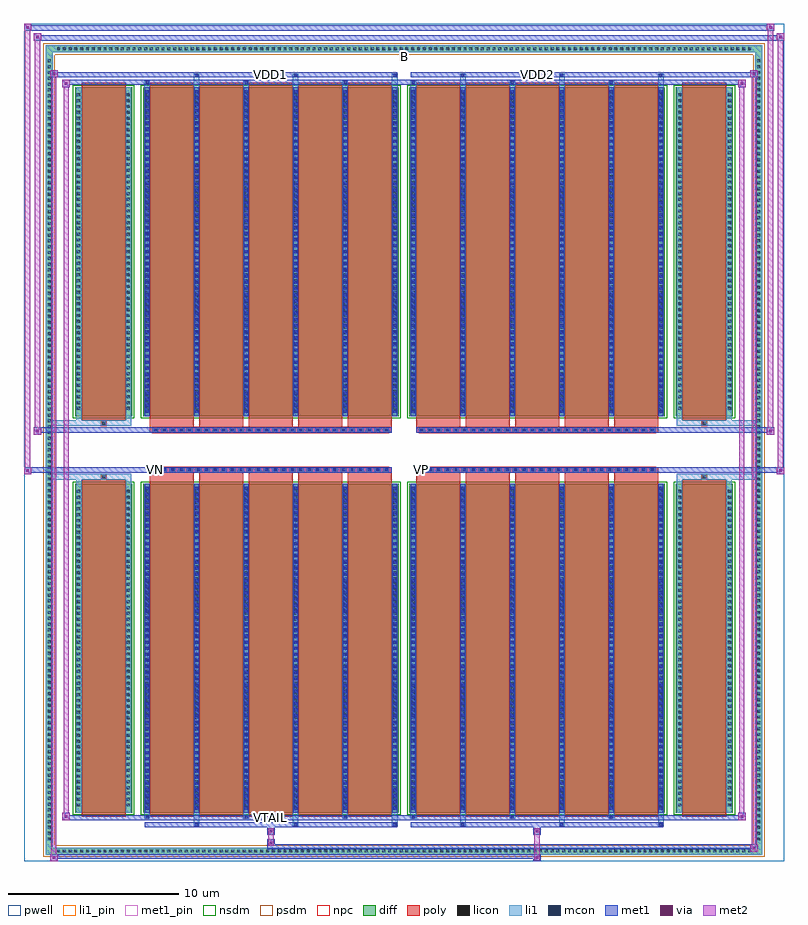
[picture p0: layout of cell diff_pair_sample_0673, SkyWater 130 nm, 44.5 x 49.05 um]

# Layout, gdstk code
import gdstk
lib = gdstk.Library(unit=1e-6, precision=5e-09)
def R(c, l, rs):  # rectangles x0, y0, x1, y1
    for r in rs: c.add(gdstk.rectangle(r[:2], r[2:], *l))
def A(c, l, x, y, w, h, nx, ny, dx, dy):  # array of equal rectangles
    R(c, l, [(x+i*dx, y+j*dy, x+i*dx+w, y+j*dy+h) for i in range(nx) for j in range(ny)])
def P(c, l, *ps):  # polygons
    for p in ps: c.add(gdstk.Polygon(p, *l))
pwell = (64, 44)
diff = (65, 20)
poly = (66, 20)
licon = (66, 44)
li1_pin = (67, 16)
li1 = (67, 20)
mcon = (67, 44)
met1_pin = (68, 16)
met1 = (68, 20)
via = (68, 44)
met2 = (69, 20)
nsdm = (93, 44)
psdm = (94, 20)
npc = (95, 20)

diff_pair_sample_0673 = lib.new_cell('diff_pair_sample_0673')
R(diff_pair_sample_0673, pwell, [(-22.25,-24.09,22.25,24.96), (-19.57,-22.28,-0.01,-0.8), (0.01,-22.28,19.57,-0.8), (-19.57,0.8,-0.01,22.28), (0.01,0.8,19.57,22.28)])
A(diff_pair_sample_0673, diff, -20.435, -23.69, 0.41, 0.41, 120, 2, 0.34, 46.97)
A(diff_pair_sample_0673, diff, -20.98, -22.985, 0.41, 0.41, 1, 135, 0, 0.34)
A(diff_pair_sample_0673, diff, 20.57, -22.985, 0.41, 0.41, 1, 135, 0, 0.34)
R(diff_pair_sample_0673, diff, [(-20.435,-23.69,20.435,-23.28), (-20.98,-22.985,-20.57,22.985), (20.57,-22.985,20.98,22.985), (-19.26,-21.235,-15.91,-1.985), (-15.27,-21.235,-0.32,-1.985), (0.32,-21.235,15.27,-1.985), (15.91,-21.235,19.26,-1.985), (-19.26,1.985,-15.91,21.235), (-15.27,1.985,-0.32,21.235), (0.32,1.985,15.27,21.235), (15.91,1.985,19.26,21.235), (-20.435,23.28,20.435,23.69)])
P(diff_pair_sample_0673, diff, [(20.98,23.69),(-20.98,23.69),(-20.98,-23.28),(-20.57,-23.28),(-20.57,23.28),(20.57,23.28),(20.57,-23.28),(-20.57,-23.28),(-20.98,-23.28),(-20.98,-23.69),(20.98,-23.69)])
A(diff_pair_sample_0673, poly, -14.88, -21.485, 2.57, 19.75, 5, 2, 2.9, 23.22)
A(diff_pair_sample_0673, poly, 0.71, -21.485, 2.57, 19.75, 5, 2, 2.9, 23.22)
A(diff_pair_sample_0673, poly, -14.88, -1.735, 2.57, 0.405, 5, 2, 2.9, 3.065)
A(diff_pair_sample_0673, poly, 0.71, -1.735, 2.57, 0.405, 5, 2, 2.9, 3.065)
A(diff_pair_sample_0673, poly, -14.71, -1.33, 0.33, 0.33, 28, 2, 0.5, 2.33)
A(diff_pair_sample_0673, poly, 0.88, -1.33, 0.33, 0.33, 28, 2, 0.5, 2.33)
R(diff_pair_sample_0673, poly, [(-18.87,-21.485,-16.3,-1.735), (16.3,-21.485,18.87,-1.735), (-17.75,-1.735,-17.42,-1.405), (-17.75,-1.735,-17.42,-1.405), (17.42,-1.735,17.75,-1.405), (17.42,-1.735,17.75,-1.405), (-14.88,-1.33,-0.71,-1), (0.71,-1.33,14.88,-1), (-14.88,1,-0.71,1.33), (0.71,1,14.88,1.33), (-17.75,1.405,-17.42,1.735), (-17.75,1.405,-17.42,1.735), (17.42,1.405,17.75,1.735), (17.42,1.405,17.75,1.735), (-18.87,1.735,-16.3,21.485), (16.3,1.735,18.87,21.485)])
A(diff_pair_sample_0673, licon, -20.315, -23.57, 0.17, 0.17, 120, 2, 0.34, 46.97)
A(diff_pair_sample_0673, licon, -20.86, -22.865, 0.17, 0.17, 1, 135, 0, 0.34)
A(diff_pair_sample_0673, licon, 20.69, -22.865, 0.17, 0.17, 1, 135, 0, 0.34)
A(diff_pair_sample_0673, licon, -19.12, -20.875, 0.17, 0.17, 1, 55, 0, 0.34)
A(diff_pair_sample_0673, licon, -16.22, -20.875, 0.17, 0.17, 1, 55, 0, 0.34)
A(diff_pair_sample_0673, licon, -15.13, -20.875, 0.17, 0.17, 6, 55, 2.9, 0.34)
A(diff_pair_sample_0673, licon, 0.46, -20.875, 0.17, 0.17, 6, 55, 2.9, 0.34)
A(diff_pair_sample_0673, licon, 16.05, -20.875, 0.17, 0.17, 1, 55, 0, 0.34)
A(diff_pair_sample_0673, licon, 18.95, -20.875, 0.17, 0.17, 1, 55, 0, 0.34)
A(diff_pair_sample_0673, licon, -14.63, -1.25, 0.17, 0.17, 28, 2, 0.5, 2.33)
A(diff_pair_sample_0673, licon, 0.96, -1.25, 0.17, 0.17, 28, 2, 0.5, 2.33)
A(diff_pair_sample_0673, licon, -19.12, 2.345, 0.17, 0.17, 1, 55, 0, 0.34)
A(diff_pair_sample_0673, licon, -16.22, 2.345, 0.17, 0.17, 1, 55, 0, 0.34)
A(diff_pair_sample_0673, licon, -15.13, 2.345, 0.17, 0.17, 6, 55, 2.9, 0.34)
A(diff_pair_sample_0673, licon, 0.46, 2.345, 0.17, 0.17, 6, 55, 2.9, 0.34)
A(diff_pair_sample_0673, licon, 16.05, 2.345, 0.17, 0.17, 1, 55, 0, 0.34)
A(diff_pair_sample_0673, licon, 18.95, 2.345, 0.17, 0.17, 1, 55, 0, 0.34)
R(diff_pair_sample_0673, licon, [(-17.67,-1.655,-17.5,-1.485), (17.5,-1.655,17.67,-1.485), (-17.67,1.485,-17.5,1.655), (17.5,1.485,17.67,1.655)])
R(diff_pair_sample_0673, li1_pin, [(-0.25,22.78,0.25,23.28)])
A(diff_pair_sample_0673, li1, -20.395, -23.65, 0.33, 0.33, 120, 2, 0.34, 46.97)
A(diff_pair_sample_0673, li1, -20.94, -22.945, 0.33, 0.33, 1, 135, 0, 0.34)
A(diff_pair_sample_0673, li1, 20.61, -22.945, 0.33, 0.33, 1, 135, 0, 0.34)
A(diff_pair_sample_0673, li1, -12.31, -22.04, 0.33, 0.805, 3, 2, 5.8, 43.275)
A(diff_pair_sample_0673, li1, -12.23, -22.04, 0.17, 0.17, 3, 2, 5.8, 43.91)
A(diff_pair_sample_0673, li1, 3.28, -22.04, 0.33, 0.805, 3, 2, 5.8, 43.275)
A(diff_pair_sample_0673, li1, 3.36, -22.04, 0.17, 0.17, 3, 2, 5.8, 43.91)
A(diff_pair_sample_0673, li1, -15.21, -21.61, 0.33, 0.375, 3, 2, 5.8, 42.845)
A(diff_pair_sample_0673, li1, -15.13, -21.61, 0.17, 0.17, 3, 2, 5.8, 43.05)
A(diff_pair_sample_0673, li1, 0.38, -21.61, 0.33, 0.375, 3, 2, 5.8, 42.845)
A(diff_pair_sample_0673, li1, 0.46, -21.61, 0.17, 0.17, 3, 2, 5.8, 43.05)
A(diff_pair_sample_0673, li1, -15.21, -21.235, 0.33, 19.25, 6, 2, 2.9, 23.22)
A(diff_pair_sample_0673, li1, 0.38, -21.235, 0.33, 19.25, 6, 2, 2.9, 23.22)
A(diff_pair_sample_0673, li1, -15.13, -21.055, 0.17, 0.17, 6, 53, 2.9, 0.36)
A(diff_pair_sample_0673, li1, -15.13, -21.055, 0.17, 18.89, 6, 2, 2.9, 23.22)
A(diff_pair_sample_0673, li1, 0.46, -21.055, 0.17, 0.17, 6, 53, 2.9, 0.36)
A(diff_pair_sample_0673, li1, 0.46, -21.055, 0.17, 18.89, 6, 2, 2.9, 23.22)
A(diff_pair_sample_0673, li1, -19.2, -20.955, 0.33, 0.33, 1, 55, 0, 0.34)
A(diff_pair_sample_0673, li1, -16.3, -20.955, 0.33, 0.33, 1, 55, 0, 0.34)
A(diff_pair_sample_0673, li1, -15.21, -20.955, 0.33, 0.33, 6, 55, 2.9, 0.34)
A(diff_pair_sample_0673, li1, 0.38, -20.955, 0.33, 0.33, 6, 55, 2.9, 0.34)
A(diff_pair_sample_0673, li1, 15.97, -20.955, 0.33, 0.33, 1, 55, 0, 0.34)
A(diff_pair_sample_0673, li1, 18.87, -20.955, 0.33, 0.33, 1, 55, 0, 0.34)
A(diff_pair_sample_0673, li1, -14.71, -1.33, 0.33, 0.33, 28, 2, 0.5, 2.33)
A(diff_pair_sample_0673, li1, 0.88, -1.33, 0.33, 0.33, 28, 2, 0.5, 2.33)
A(diff_pair_sample_0673, li1, -15.13, 2.165, 0.17, 0.17, 6, 53, 2.9, 0.36)
A(diff_pair_sample_0673, li1, 0.46, 2.165, 0.17, 0.17, 6, 53, 2.9, 0.36)
A(diff_pair_sample_0673, li1, -19.2, 2.265, 0.33, 0.33, 1, 55, 0, 0.34)
A(diff_pair_sample_0673, li1, -16.3, 2.265, 0.33, 0.33, 1, 55, 0, 0.34)
A(diff_pair_sample_0673, li1, -15.21, 2.265, 0.33, 0.33, 6, 55, 2.9, 0.34)
A(diff_pair_sample_0673, li1, 0.38, 2.265, 0.33, 0.33, 6, 55, 2.9, 0.34)
A(diff_pair_sample_0673, li1, 15.97, 2.265, 0.33, 0.33, 1, 55, 0, 0.34)
A(diff_pair_sample_0673, li1, 18.87, 2.265, 0.33, 0.33, 1, 55, 0, 0.34)
R(diff_pair_sample_0673, li1, [(-20.98,-23.69,-20.57,-23.28), (-20.98,-23.69,-20.57,-23.28), (-20.57,-23.69,20.57,-23.28), (20.57,-23.69,20.98,-23.28), (20.57,-23.69,20.98,-23.28), (-20.98,-23.28,-20.57,23.28), (20.57,-23.28,20.98,23.28), (-19.2,-21.235,-18.87,-1.985), (-16.3,-21.235,-15.97,-1.985), (15.97,-21.235,16.3,-1.985), (18.87,-21.235,19.2,-1.985), (-19.2,-1.985,-18.87,-1.405), (-16.3,-1.985,-15.97,-1.405), (15.97,-1.985,16.3,-1.405), (18.87,-1.985,19.2,-1.405), (-20.98,-1.735,-17.75,-1.405), (-19.2,-1.735,-17.75,-1.405), (-17.75,-1.735,-17.42,-1.405), (-17.42,-1.735,-15.97,-1.405), (15.97,-1.735,17.42,-1.405), (17.42,-1.735,17.75,-1.405), (17.42,-1.735,20.98,-1.405), (17.75,-1.735,19.2,-1.405), (-20.98,1.405,-17.75,1.735), (-19.2,1.405,-17.75,1.735), (-19.2,1.405,-18.87,1.985), (-17.75,1.405,-17.42,1.735), (-17.42,1.405,-15.97,1.735), (-16.3,1.405,-15.97,1.985), (15.97,1.405,17.42,1.735), (15.97,1.405,16.3,1.985), (17.42,1.405,17.75,1.735), (17.42,1.405,20.98,1.735), (17.75,1.405,19.2,1.735), (18.87,1.405,19.2,1.985), (-19.2,1.985,-18.87,21.235), (-16.3,1.985,-15.97,21.235), (15.97,1.985,16.3,21.235), (18.87,1.985,19.2,21.235), (-20.98,23.28,-20.57,23.69), (-20.98,23.28,-20.57,23.69), (-20.57,23.28,20.57,23.69), (20.57,23.28,20.98,23.69), (20.57,23.28,20.98,23.69)])
A(diff_pair_sample_0673, mcon, -12.23, -22.04, 0.17, 0.17, 3, 2, 5.8, 43.91)
A(diff_pair_sample_0673, mcon, 3.36, -22.04, 0.17, 0.17, 3, 2, 5.8, 43.91)
A(diff_pair_sample_0673, mcon, -15.13, -21.61, 0.17, 0.17, 3, 2, 5.8, 43.05)
A(diff_pair_sample_0673, mcon, 0.46, -21.61, 0.17, 0.17, 3, 2, 5.8, 43.05)
A(diff_pair_sample_0673, mcon, -15.13, -21.055, 0.17, 0.17, 6, 53, 2.9, 0.36)
A(diff_pair_sample_0673, mcon, 0.46, -21.055, 0.17, 0.17, 6, 53, 2.9, 0.36)
A(diff_pair_sample_0673, mcon, -14.63, -1.25, 0.17, 0.17, 28, 2, 0.5, 2.33)
A(diff_pair_sample_0673, mcon, 0.96, -1.25, 0.17, 0.17, 28, 2, 0.5, 2.33)
A(diff_pair_sample_0673, mcon, -15.13, 2.165, 0.17, 0.17, 6, 53, 2.9, 0.36)
A(diff_pair_sample_0673, mcon, 0.46, 2.165, 0.17, 0.17, 6, 53, 2.9, 0.36)
R(diff_pair_sample_0673, met1_pin, [(-7.93,-21.65,-7.66,-21.38), (-14.68,-1.29,-14.41,-1.02), (0.91,-1.29,1.18,-1.02), (-7.93,21.83,-7.66,22.1), (7.66,21.83,7.93,22.1)])
A(diff_pair_sample_0673, met1, -12.29, -22.1, 0.29, 0.29, 3, 2, 5.8, 43.91)
A(diff_pair_sample_0673, met1, 3.3, -22.1, 0.29, 0.29, 3, 2, 5.8, 43.91)
A(diff_pair_sample_0673, met1, -15.19, -21.67, 0.29, 0.29, 3, 2, 5.8, 43.05)
A(diff_pair_sample_0673, met1, 0.4, -21.67, 0.29, 0.29, 3, 2, 5.8, 43.05)
A(diff_pair_sample_0673, met1, -15.19, -21.235, 0.29, 19.25, 6, 2, 2.9, 23.22)
A(diff_pair_sample_0673, met1, 0.4, -21.235, 0.29, 19.25, 6, 2, 2.9, 23.22)
A(diff_pair_sample_0673, met1, -15.19, -21.115, 0.29, 0.29, 6, 53, 2.9, 0.36)
A(diff_pair_sample_0673, met1, 0.4, -21.115, 0.29, 0.29, 6, 53, 2.9, 0.36)
A(diff_pair_sample_0673, met1, -14.69, -1.31, 0.29, 0.29, 28, 2, 0.5, 2.33)
A(diff_pair_sample_0673, met1, 0.9, -1.31, 0.29, 0.29, 28, 2, 0.5, 2.33)
A(diff_pair_sample_0673, met1, -15.19, 2.105, 0.29, 0.29, 6, 53, 2.9, 0.36)
A(diff_pair_sample_0673, met1, 0.4, 2.105, 0.29, 0.29, 6, 53, 2.9, 0.36)
R(diff_pair_sample_0673, met1, [(-20.71,-24.09,-20.28,-23.66), (7.58,-24.09,8.01,-23.66), (-20.71,-23.95,8.01,-23.66), (20.28,-23.52,20.71,-23.09), (-8.01,-23.38,20.71,-23.09), (-8.01,-23.24,-7.58,-22.81), (-8.01,-22.53,-7.58,-22.1), (7.58,-22.53,8.01,-22.1), (-15.19,-22.1,-0.4,-21.81), (0.4,-22.1,15.19,-21.81), (-20,-21.67,-19.57,-21.24), (-20,-21.67,-15.19,-21.38), (-15.19,-21.67,-0.4,-21.38), (-0.4,-21.67,0.4,-21.38), (0.4,-21.67,15.19,-21.38), (15.19,-21.67,20,-21.38), (19.57,-21.67,20,-21.24), (-22.25,-1.43,-21.82,-1), (21.82,-1.43,22.25,-1), (-22.25,-1.33,-0.71,-1), (-14.88,-1.33,-0.71,-1), (0.71,-1.33,14.88,-1), (0.71,-1.33,22.25,-1), (-21.68,0.9,-21.25,1.33), (21.25,0.9,21.68,1.33), (-21.68,1,-14.88,1.33), (-14.88,1,-0.71,1.33), (0.71,1,14.88,1.33), (14.88,1,21.68,1.33), (-20,21.24,-19.57,21.67), (19.57,21.24,20,21.67), (-20,21.38,-15.19,21.67), (-15.19,21.38,-0.4,21.67), (-0.4,21.38,0.4,21.67), (0.4,21.38,15.19,21.67), (15.19,21.38,20,21.67), (-20.71,21.81,-20.28,22.24), (-20.71,21.81,-15.19,22.1), (-15.19,21.81,-0.4,22.1), (0.4,21.81,15.19,22.1), (15.19,21.81,20.71,22.1), (20.28,21.81,20.71,22.24), (-21.68,23.96,-21.25,24.39), (-21.68,23.96,-19.57,24.29), (-19.57,23.96,19.57,24.29), (19.57,23.96,22.25,24.29), (21.82,23.96,22.25,24.39), (-22.25,24.53,-21.82,24.96), (-22.25,24.53,-19.57,24.86), (-19.57,24.53,19.57,24.86), (19.57,24.53,21.68,24.86), (21.25,24.53,21.68,24.96)])
R(diff_pair_sample_0673, via, [(-20.57,-23.95,-20.42,-23.8), (7.72,-23.95,7.87,-23.8), (20.42,-23.38,20.57,-23.23), (-7.87,-23.1,-7.72,-22.95), (-7.87,-22.39,-7.72,-22.24), (7.72,-22.39,7.87,-22.24), (-19.86,-21.53,-19.71,-21.38), (19.71,-21.53,19.86,-21.38), (-22.11,-1.29,-21.96,-1.14), (21.96,-1.29,22.11,-1.14), (-21.54,1.04,-21.39,1.19), (21.39,1.04,21.54,1.19), (-19.86,21.38,-19.71,21.53), (19.71,21.38,19.86,21.53), (-20.57,21.95,-20.42,22.1), (20.42,21.95,20.57,22.1), (-21.54,24.1,-21.39,24.25), (21.96,24.1,22.11,24.25), (-22.11,24.67,-21.96,24.82), (21.39,24.67,21.54,24.82)])
R(diff_pair_sample_0673, met2, [(-20.71,-24.09,-20.28,-23.66), (-20.64,-24.09,-20.35,22.24), (-20.35,-24.09,-20.28,-23.66), (-20.66,-24.04,-20.33,-23.71), (7.63,-24.04,7.96,-23.71), (7.63,-23.71,7.96,-22.48), (20.28,-23.52,20.71,-23.09), (20.35,-23.52,20.64,22.24), (20.64,-23.52,20.71,-23.09), (20.33,-23.47,20.66,-23.14), (-7.96,-23.19,-7.63,-22.86), (-7.96,-22.86,-7.63,-22.48), (-7.96,-22.48,-7.63,-22.15), (7.63,-22.48,7.96,-22.15), (-20,-21.67,-19.57,-21.24), (-19.93,-21.67,-19.64,21.67), (-19.64,-21.67,-19.57,-21.24), (19.57,-21.67,20,-21.24), (19.64,-21.67,19.93,21.67), (19.93,-21.67,20,-21.24), (-19.95,-21.62,-19.62,-21.29), (19.62,-21.62,19.95,-21.29), (-22.25,-1.43,-21.82,-1), (-22.2,-1.43,-21.87,24.96), (-21.87,-1.43,-21.82,-1), (21.82,-1.43,22.25,-1), (21.87,-1.43,22.2,24.39), (22.2,-1.43,22.25,-1), (-22.2,-1.38,-21.87,-1.05), (21.87,-1.38,22.2,-1.05), (-21.68,0.9,-21.25,1.33), (-21.63,0.9,-21.3,24.39), (-21.3,0.9,-21.25,1.33), (21.25,0.9,21.68,1.33), (21.3,0.9,21.63,24.96), (21.63,0.9,21.68,1.33), (-21.63,0.95,-21.3,1.28), (21.3,0.95,21.63,1.28), (-20,21.24,-19.57,21.67), (-19.64,21.24,-19.57,21.67), (19.57,21.24,20,21.67), (19.93,21.24,20,21.67), (-19.95,21.29,-19.62,21.62), (19.62,21.29,19.95,21.62), (-20.71,21.81,-20.28,22.24), (-20.35,21.81,-20.28,22.24), (20.28,21.81,20.71,22.24), (20.64,21.81,20.71,22.24), (-20.66,21.86,-20.33,22.19), (20.33,21.86,20.66,22.19), (-21.68,23.96,-21.25,24.39), (-21.3,23.96,-21.25,24.39), (21.82,23.96,22.25,24.39), (22.2,23.96,22.25,24.39), (-21.63,24.01,-21.3,24.34), (21.87,24.01,22.2,24.34), (-22.25,24.53,-21.82,24.96), (-21.87,24.53,-21.82,24.96), (21.25,24.53,21.68,24.96), (21.63,24.53,21.68,24.96), (-22.2,24.58,-21.87,24.91), (21.3,24.58,21.63,24.91)])
R(diff_pair_sample_0673, nsdm, [(-19.39,-21.365,-15.78,-1.855), (-15.4,-21.365,-0.19,-1.855), (0.19,-21.365,15.4,-1.855), (15.78,-21.365,19.39,-1.855), (-19.39,1.855,-15.78,21.365), (-15.4,1.855,-0.19,21.365), (0.19,1.855,15.4,21.365), (15.78,1.855,19.39,21.365)])
P(diff_pair_sample_0673, psdm, [(21.11,23.82),(-21.11,23.82),(-21.11,-23.15),(-20.44,-23.15),(-20.44,23.15),(20.44,23.15),(20.44,-23.15),(-20.44,-23.15),(-21.11,-23.15),(-21.11,-23.82),(21.11,-23.82)])
A(diff_pair_sample_0673, npc, -14.73, -1.35, 0.37, 0.37, 28, 2, 0.5, 2.33)
A(diff_pair_sample_0673, npc, 0.86, -1.35, 0.37, 0.37, 28, 2, 0.5, 2.33)
R(diff_pair_sample_0673, npc, [(-17.77,-1.755,-17.4,-1.385), (17.4,-1.755,17.77,-1.385), (-14.73,-1.35,-13.86,-0.98), (-14.73,-1.35,-13.86,-0.98), (-14.23,-1.35,-13.36,-0.98), (-14.23,-1.35,-13.36,-0.98), (-13.73,-1.35,-12.86,-0.98), (-13.73,-1.35,-12.86,-0.98), (-13.23,-1.35,-12.36,-0.98), (-13.23,-1.35,-12.36,-0.98), (-12.73,-1.35,-11.86,-0.98), (-12.73,-1.35,-11.86,-0.98), (-12.23,-1.35,-11.36,-0.98), (-12.23,-1.35,-11.36,-0.98), (-11.73,-1.35,-10.86,-0.98), (-11.73,-1.35,-10.86,-0.98), (-11.23,-1.35,-10.36,-0.98), (-11.23,-1.35,-10.36,-0.98), (-10.73,-1.35,-9.86,-0.98), (-10.73,-1.35,-9.86,-0.98), (-10.23,-1.35,-9.36,-0.98), (-10.23,-1.35,-9.36,-0.98), (-9.73,-1.35,-8.86,-0.98), (-9.73,-1.35,-8.86,-0.98), (-9.23,-1.35,-8.36,-0.98), (-9.23,-1.35,-8.36,-0.98), (-8.73,-1.35,-7.86,-0.98), (-8.73,-1.35,-7.86,-0.98), (-8.23,-1.35,-7.36,-0.98), (-8.23,-1.35,-7.36,-0.98), (-7.73,-1.35,-6.86,-0.98), (-7.73,-1.35,-6.86,-0.98), (-7.23,-1.35,-6.36,-0.98), (-7.23,-1.35,-6.36,-0.98), (-6.73,-1.35,-5.86,-0.98), (-6.73,-1.35,-5.86,-0.98), (-6.23,-1.35,-5.36,-0.98), (-6.23,-1.35,-5.36,-0.98), (-5.73,-1.35,-4.86,-0.98), (-5.73,-1.35,-4.86,-0.98), (-5.23,-1.35,-4.36,-0.98), (-5.23,-1.35,-4.36,-0.98), (-4.73,-1.35,-3.86,-0.98), (-4.73,-1.35,-3.86,-0.98), (-4.23,-1.35,-3.36,-0.98), (-4.23,-1.35,-3.36,-0.98), (-3.73,-1.35,-2.86,-0.98), (-3.73,-1.35,-2.86,-0.98), (-3.23,-1.35,-2.36,-0.98), (-3.23,-1.35,-2.36,-0.98), (-2.73,-1.35,-1.86,-0.98), (-2.73,-1.35,-1.86,-0.98), (-2.23,-1.35,-1.36,-0.98), (-2.23,-1.35,-1.36,-0.98), (-1.73,-1.35,-0.86,-0.98), (-1.73,-1.35,-0.86,-0.98), (0.86,-1.35,1.73,-0.98), (0.86,-1.35,1.73,-0.98), (1.36,-1.35,2.23,-0.98), (1.36,-1.35,2.23,-0.98), (1.86,-1.35,2.73,-0.98), (1.86,-1.35,2.73,-0.98), (2.36,-1.35,3.23,-0.98), (2.36,-1.35,3.23,-0.98), (2.86,-1.35,3.73,-0.98), (2.86,-1.35,3.73,-0.98), (3.36,-1.35,4.23,-0.98), (3.36,-1.35,4.23,-0.98), (3.86,-1.35,4.73,-0.98), (3.86,-1.35,4.73,-0.98), (4.36,-1.35,5.23,-0.98), (4.36,-1.35,5.23,-0.98), (4.86,-1.35,5.73,-0.98), (4.86,-1.35,5.73,-0.98), (5.36,-1.35,6.23,-0.98), (5.36,-1.35,6.23,-0.98), (5.86,-1.35,6.73,-0.98), (5.86,-1.35,6.73,-0.98), (6.36,-1.35,7.23,-0.98), (6.36,-1.35,7.23,-0.98), (6.86,-1.35,7.73,-0.98), (6.86,-1.35,7.73,-0.98), (7.36,-1.35,8.23,-0.98), (7.36,-1.35,8.23,-0.98), (7.86,-1.35,8.73,-0.98), (7.86,-1.35,8.73,-0.98), (8.36,-1.35,9.23,-0.98), (8.36,-1.35,9.23,-0.98), (8.86,-1.35,9.73,-0.98), (8.86,-1.35,9.73,-0.98), (9.36,-1.35,10.23,-0.98), (9.36,-1.35,10.23,-0.98), (9.86,-1.35,10.73,-0.98), (9.86,-1.35,10.73,-0.98), (10.36,-1.35,11.23,-0.98), (10.36,-1.35,11.23,-0.98), (10.86,-1.35,11.73,-0.98), (10.86,-1.35,11.73,-0.98), (11.36,-1.35,12.23,-0.98), (11.36,-1.35,12.23,-0.98), (11.86,-1.35,12.73,-0.98), (11.86,-1.35,12.73,-0.98), (12.36,-1.35,13.23,-0.98), (12.36,-1.35,13.23,-0.98), (12.86,-1.35,13.73,-0.98), (12.86,-1.35,13.73,-0.98), (13.36,-1.35,14.23,-0.98), (13.36,-1.35,14.23,-0.98), (13.86,-1.35,14.73,-0.98), (13.86,-1.35,14.73,-0.98), (-14.73,0.98,-13.86,1.35), (-14.73,0.98,-13.86,1.35), (-14.23,0.98,-13.36,1.35), (-14.23,0.98,-13.36,1.35), (-13.73,0.98,-12.86,1.35), (-13.73,0.98,-12.86,1.35), (-13.23,0.98,-12.36,1.35), (-13.23,0.98,-12.36,1.35), (-12.73,0.98,-11.86,1.35), (-12.73,0.98,-11.86,1.35), (-12.23,0.98,-11.36,1.35), (-12.23,0.98,-11.36,1.35), (-11.73,0.98,-10.86,1.35), (-11.73,0.98,-10.86,1.35), (-11.23,0.98,-10.36,1.35), (-11.23,0.98,-10.36,1.35), (-10.73,0.98,-9.86,1.35), (-10.73,0.98,-9.86,1.35), (-10.23,0.98,-9.36,1.35), (-10.23,0.98,-9.36,1.35), (-9.73,0.98,-8.86,1.35), (-9.73,0.98,-8.86,1.35), (-9.23,0.98,-8.36,1.35), (-9.23,0.98,-8.36,1.35), (-8.73,0.98,-7.86,1.35), (-8.73,0.98,-7.86,1.35), (-8.23,0.98,-7.36,1.35), (-8.23,0.98,-7.36,1.35), (-7.73,0.98,-6.86,1.35), (-7.73,0.98,-6.86,1.35), (-7.23,0.98,-6.36,1.35), (-7.23,0.98,-6.36,1.35), (-6.73,0.98,-5.86,1.35), (-6.73,0.98,-5.86,1.35), (-6.23,0.98,-5.36,1.35), (-6.23,0.98,-5.36,1.35), (-5.73,0.98,-4.86,1.35), (-5.73,0.98,-4.86,1.35), (-5.23,0.98,-4.36,1.35), (-5.23,0.98,-4.36,1.35), (-4.73,0.98,-3.86,1.35), (-4.73,0.98,-3.86,1.35), (-4.23,0.98,-3.36,1.35), (-4.23,0.98,-3.36,1.35), (-3.73,0.98,-2.86,1.35), (-3.73,0.98,-2.86,1.35), (-3.23,0.98,-2.36,1.35), (-3.23,0.98,-2.36,1.35), (-2.73,0.98,-1.86,1.35), (-2.73,0.98,-1.86,1.35), (-2.23,0.98,-1.36,1.35), (-2.23,0.98,-1.36,1.35), (-1.73,0.98,-0.86,1.35), (-1.73,0.98,-0.86,1.35), (0.86,0.98,1.73,1.35), (0.86,0.98,1.73,1.35), (1.36,0.98,2.23,1.35), (1.36,0.98,2.23,1.35), (1.86,0.98,2.73,1.35), (1.86,0.98,2.73,1.35), (2.36,0.98,3.23,1.35), (2.36,0.98,3.23,1.35), (2.86,0.98,3.73,1.35), (2.86,0.98,3.73,1.35), (3.36,0.98,4.23,1.35), (3.36,0.98,4.23,1.35), (3.86,0.98,4.73,1.35), (3.86,0.98,4.73,1.35), (4.36,0.98,5.23,1.35), (4.36,0.98,5.23,1.35), (4.86,0.98,5.73,1.35), (4.86,0.98,5.73,1.35), (5.36,0.98,6.23,1.35), (5.36,0.98,6.23,1.35), (5.86,0.98,6.73,1.35), (5.86,0.98,6.73,1.35), (6.36,0.98,7.23,1.35), (6.36,0.98,7.23,1.35), (6.86,0.98,7.73,1.35), (6.86,0.98,7.73,1.35), (7.36,0.98,8.23,1.35), (7.36,0.98,8.23,1.35), (7.86,0.98,8.73,1.35), (7.86,0.98,8.73,1.35), (8.36,0.98,9.23,1.35), (8.36,0.98,9.23,1.35), (8.86,0.98,9.73,1.35), (8.86,0.98,9.73,1.35), (9.36,0.98,10.23,1.35), (9.36,0.98,10.23,1.35), (9.86,0.98,10.73,1.35), (9.86,0.98,10.73,1.35), (10.36,0.98,11.23,1.35), (10.36,0.98,11.23,1.35), (10.86,0.98,11.73,1.35), (10.86,0.98,11.73,1.35), (11.36,0.98,12.23,1.35), (11.36,0.98,12.23,1.35), (11.86,0.98,12.73,1.35), (11.86,0.98,12.73,1.35), (12.36,0.98,13.23,1.35), (12.36,0.98,13.23,1.35), (12.86,0.98,13.73,1.35), (12.86,0.98,13.73,1.35), (13.36,0.98,14.23,1.35), (13.36,0.98,14.23,1.35), (13.86,0.98,14.73,1.35), (13.86,0.98,14.73,1.35), (-17.77,1.385,-17.4,1.755), (17.4,1.385,17.77,1.755)])
diff_pair_sample_0673.add(gdstk.Label('VTAIL', (-7.795,-21.515), layer=68, texttype=5))
diff_pair_sample_0673.add(gdstk.Label('VN', (-14.545,-1.155), layer=68, texttype=5))
diff_pair_sample_0673.add(gdstk.Label('VP', (1.045,-1.155), layer=68, texttype=5))
diff_pair_sample_0673.add(gdstk.Label('B', (0,23.03), layer=67, texttype=5))
diff_pair_sample_0673.add(gdstk.Label('VDD2', (7.795,21.965), layer=68, texttype=5))
diff_pair_sample_0673.add(gdstk.Label('VDD1', (-7.795,21.965), layer=68, texttype=5))

lib.write_gds('diff_pair_sample_0673.gds')
